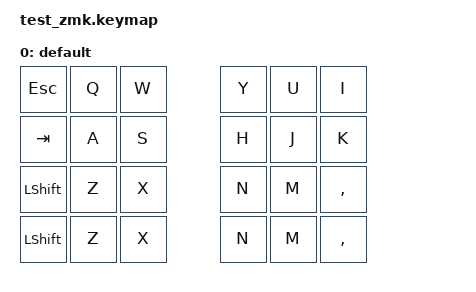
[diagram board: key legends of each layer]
#include <behaviors.dtsi>
#include <dt-bindings/zmk/keys.h>
#include <dt-bindings/zmk/bt.h>

/ {
    keymap {
        compatible = "zmk,keymap";

        default_layer {
            display-name = "default";
// --------------------------------------------------------------------------------------------------------------------------------------------------------------------
// |   ESC   |    Q    |    W    |    E    |    R    |    T    |                                          |    Y    |    U    |    I    |    O    |    P    |    \    |
// |   TAB   |    A    |    S    |    D    |    F    |    G    |                                          |    H    |    J    |    K    |    L    |    ;    |    '    |
// |  SHIFT  |    Z    |    X    |    C    |    V    |    B    | CTRL+A  | CTRL+C  |  |  CTRL+V |  CTRL+X |    N    |    M    |    ,    |    .    |    /    |  R CTRL |
//                               |   GUI   |   DEL   | RETURN  |  SPACE  | ESCAPE  |  |  RETURN |  SPACE  |   TAB   |   BSPC  |  R ALT  |
            bindings = <
    &kp ESC    &kp Q    &kp W               &kp Y     &kp U     &kp I    
    &kp TAB    &kp A    &kp S               &kp H     &kp J     &kp K    
    &kp LSHIFT &kp Z    &kp X               &kp N     &kp M     &kp COMMA
    &kp LSHIFT &kp Z    &kp X               &kp N     &kp M     &kp COMMA
            >;

//            sensor-bindings = <&inc_dec_kp C_VOL_UP C_VOL_DN &inc_dec_kp PG_UP PG_DN>;
        };
    };
};
